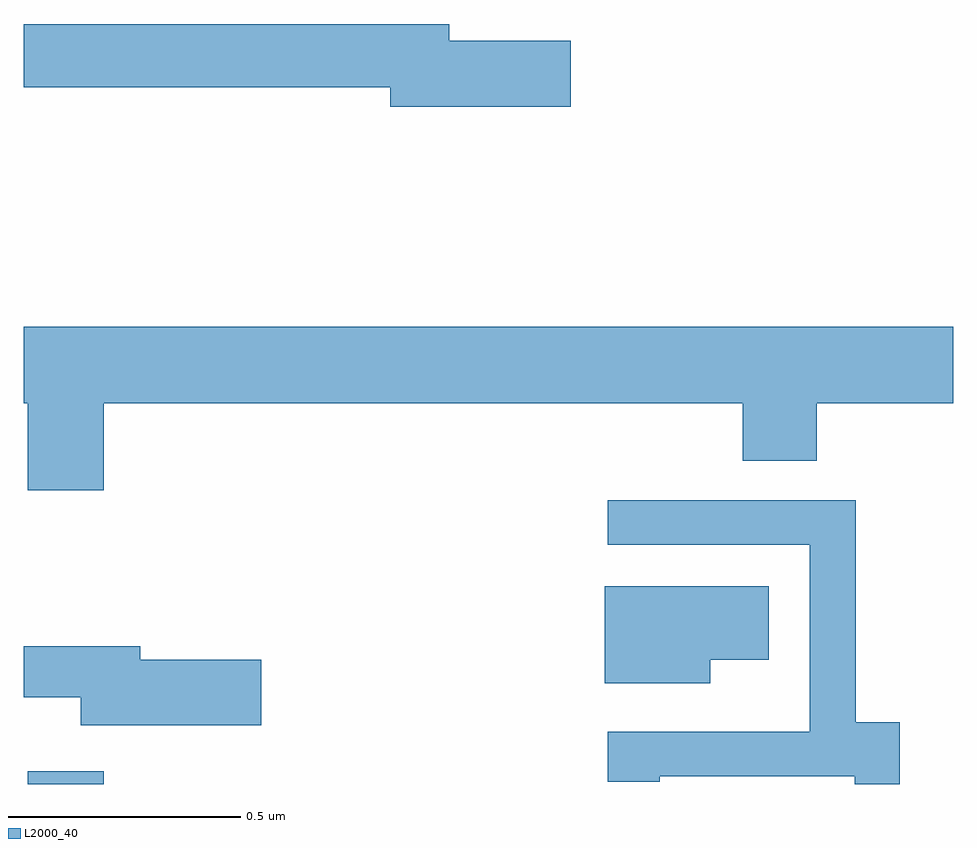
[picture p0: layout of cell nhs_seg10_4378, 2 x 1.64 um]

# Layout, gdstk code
import gdstk
lib = gdstk.Library(unit=1e-6, precision=1e-09)
def R(c, l, rs):  # rectangles x0, y0, x1, y1
    for r in rs: c.add(gdstk.rectangle(r[:2], r[2:], *l))
def P(c, l, *ps):  # polygons
    for p in ps: c.add(gdstk.Polygon(p, *l))
L2000_40 = (2000, 40)

nhs_seg10_4378 = lib.new_cell('nhs_seg10_4378')
R(nhs_seg10_4378, L2000_40, [(165.008,1295.5,165.172,1295.527)])
P(nhs_seg10_4378, L2000_40, [(166.177,1297.1),(165.916,1297.1),(165.916,1297.136),(165,1297.136),(165,1297),(165.788,1297),(165.788,1296.958),(166.177,1296.958)],
  [(165.172,1296.32),(166.547,1296.32),(166.547,1296.196),(166.707,1296.196),(166.707,1296.32),(167,1296.32),(167,1296.484),(165,1296.484),(165,1296.32),(165.008,1296.32),(165.008,1296.132),(165.172,1296.132)],
  [(166.885,1295.633),(166.791,1295.633),(166.791,1296.111),(166.257,1296.111),(166.257,1296.015),(166.692,1296.015),(166.692,1295.614),(166.691,1295.614),(166.691,1295.613),(166.257,1295.613),(166.257,1295.505),(166.369,1295.505),(166.369,1295.517),(166.788,1295.517),(166.788,1295.5),(166.885,1295.5)],
  [(166.477,1295.768),(166.603,1295.768),(166.603,1295.926),(166.25,1295.926),(166.25,1295.717),(166.477,1295.717)],
  [(165.511,1295.768),(165.25,1295.768),(165.25,1295.797),(165,1295.797),(165,1295.687),(165.122,1295.687),(165.122,1295.626),(165.511,1295.626)])

lib.write_gds('nhs_seg10_4378.gds')
